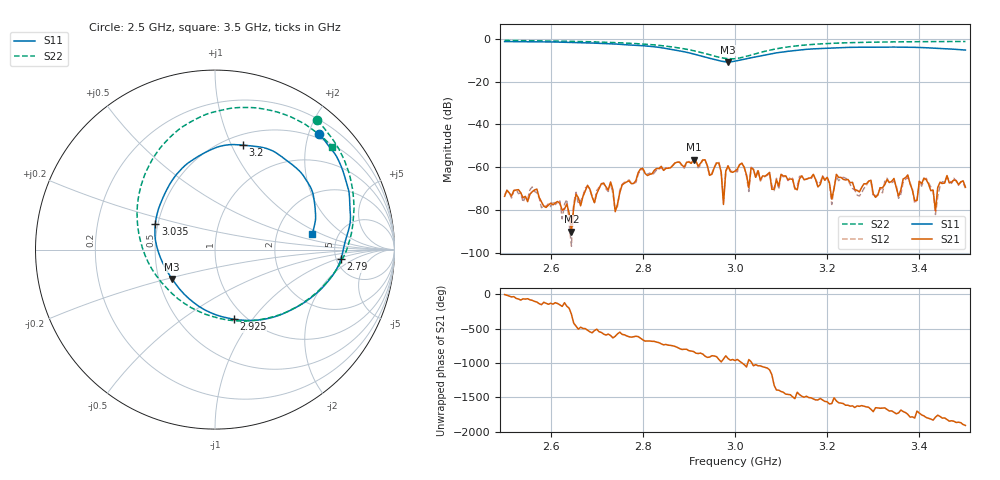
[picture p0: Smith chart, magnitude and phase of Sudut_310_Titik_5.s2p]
# Hz S RI R 50
! CMT, C1220, 16058040, 17.2.0/1
! Date: 15/08/2018 10:27:46
! Data: Format (Calibration Info)
! Freq  S11: Re/Im (F2)  S21: Re/Im (F2)  S12: Re/Im (F2)  S22: Re/Im (F2)
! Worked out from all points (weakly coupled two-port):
!   201 points, 2.5 GHz to 3.5 GHz, reference 50 ohm
!   highest |S21| = -56.49 dB at 2.91 GHz (marker M1); lowest = -90.2 dB at 2.645 GHz (marker M2)
!   lowest |S11| = -10.8 dB at 2.985 GHz (marker M3), VSWR 1.82, Z = 29.3 - j10.4 ohm
!   |S11| at or under -10 dB: 2.961 GHz to 3.009 GHz (47.88 MHz wide, 1.6 % of centre)
!   |S22| runs from -9.3 to -0.7 dB; largest |S21 - S12| = 0.00014
!   S11 on the Smith chart (normalised r, x): 2.5 GHz: 0.43, +2.18; 2.79 GHz: 5.48, -1.16; 2.925 GHz: 0.88, -0.81; 3.035 GHz: 0.48, +0.16; 3.2 GHz: 0.61, +1.11; 3.5 GHz: 3.22, +0.78
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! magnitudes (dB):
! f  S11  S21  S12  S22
! 2.5 GHz  -1.3  -73.6  -72.8  -0.7
! 2.645 GHz  -1.7  -90.2  -96.9  -1.1
! 2.67 GHz  -1.8  -73.7  -73.5  -1.3
! 2.73 GHz  -2.3  -66.9  -67.7  -1.7
! 2.74 GHz  -2.4  -80.8  -80.1  -1.7
! 2.79 GHz  -3.1  -62.5  -63.2  -2.3
! 2.835 GHz  -4.0  -60.6  -60.9  -3.0
! 2.91 GHz  -7.1  -56.5  -56.6  -5.5
! 2.925 GHz  -7.9  -58.2  -59.1  -6.3
! 2.965 GHz  -10.2  -58.0  -57.7  -8.6
! 2.975 GHz  -10.6  -77.4  -74.7  -9.0
! 2.985 GHz  -10.8  -59.3  -59.2  -9.2
! 3 GHz  -10.4  -61.8  -61.8  -9.3
! 3.035 GHz  -8.8  -60.2  -60.0  -7.6
! 3.17 GHz  -4.7  -63.3  -63.6  -2.6
! 3.2 GHz  -4.4  -64.7  -64.6  -2.2
! 3.21 GHz  -4.3  -74.9  -77.4  -2.1
! 3.22 GHz  -4.2  -63.3  -64.3  -2.0
! 3.335 GHz  -3.8  -67.2  -67.3  -1.4
! 3.415 GHz  -4.2  -65.8  -65.2  -1.3
! 3.435 GHz  -4.4  -80.4  -82.1  -1.3
! 3.5 GHz  -5.2  -69.3  -69.8  -1.2
